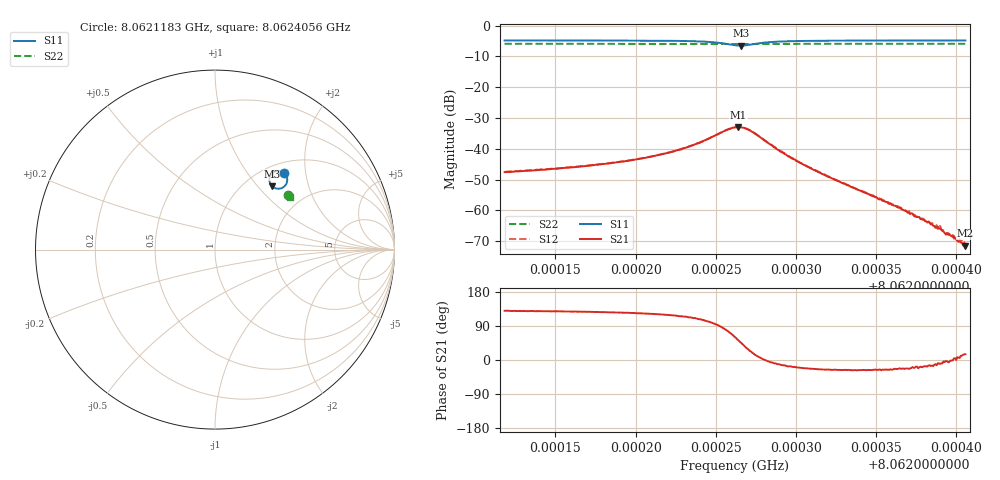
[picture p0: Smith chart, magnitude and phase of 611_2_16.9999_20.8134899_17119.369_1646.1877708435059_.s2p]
#  HZ  S  RI  R  50.00
! Rohde & Schwarz Vector Network Analyzer
! Rohde-Schwarz,ZNB20-2Port,1311601062101988,3.16
! Created: UTC 3/20/2024, 11:19:26 PM
! freq[Hz]  re:S11  im:S11  re:S21  im:S21  re:S12  im:S12  re:S22  im:S22
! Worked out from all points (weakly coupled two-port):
!   401 points, 8.0621183 GHz to 8.0624056 GHz, reference 50 ohm
!   highest |S21| = -32.93 dB at 8.0622641 GHz (marker M1); lowest = -71.5 dB at 8.0624056 GHz (marker M2)
!   lowest |S11| = -6.5 dB at 8.0622655 GHz (marker M3), VSWR 2.81, Z = 65.8 + j59.9 ohm
!   |S11| at or under -10 dB: nowhere
!   |S22| runs from -6.0 to -5.9 dB; largest |S21 - S12| = 0.0014
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8.06211828e9  0.3852 0.4279  -0.00267 0.00321  -0.00251 0.00337  0.4068 0.3048
8.06216641e9  0.3909 0.4219  -0.00313 0.00411  -0.00294 0.00433  0.4087 0.3022
8.0621937e9  0.395 0.416  -0.00361 0.0052  -0.00328 0.00549  0.4096 0.3007
8.06221453e9  0.399 0.4079  -0.00402 0.00681  -0.00366 0.00713  0.4104 0.2991
8.06223536e9  0.4028 0.39  -0.00414 0.0106  -0.00357 0.0109  0.4111 0.2973
8.06225117e9  0.3914 0.3574  -0.000679 0.0171  0.000447 0.0172  0.4105 0.2953
8.06225691e9  0.371 0.3425  0.00426 0.0198  0.00551 0.0196  0.4098 0.2948
8.06226194e9  0.3408 0.3406  0.011 0.0193  0.0121 0.0189  0.4085 0.2948
8.06226409e9  0.3268 0.3463  0.0139 0.0178  0.0148 0.0169  0.4081 0.2951
8.06226553e9  0.3186 0.3526  0.0155 0.0162  0.0165 0.0154  0.4079 0.2956
8.06227128e9  0.303 0.3874  0.0182 0.00799  0.0188 0.00715  0.4078 0.2969
8.06228205e9  0.3229 0.4287  0.0126 -0.000656  0.0128 -0.00134  0.4095 0.298
8.06229498e9  0.347 0.4385  0.00721 -0.00221  0.00717 -0.00272  0.4114 0.2974
8.06231006e9  0.3617 0.438  0.00429 -0.00183  0.00421 -0.00213  0.4124 0.2966
8.0623273e9  0.3706 0.4356  0.00262 -0.00128  0.00256 -0.00146  0.4133 0.2956
8.06235819e9  0.3791 0.4316  0.00114 -0.000555  0.00115 -0.000641  0.4147 0.2937
8.06238333e9  0.3834 0.429  0.000603 -0.000149  0.000602 -0.000194  0.4155 0.2924
8.06239123e9  0.3844 0.4282  0.000458 -7.08e-05  0.000459 -8.95e-05  0.4159 0.2919
8.06239482e9  0.3849 0.4279  0.000422 -4.35e-05  0.000399 -5.77e-05  0.416 0.2918
8.06239698e9  0.385 0.4277  0.000382 -1.15e-05  0.000369 -3.88e-05  0.4159 0.2915
8.06240272e9  0.3857 0.4273  0.000293 5.79e-05  0.000321 2.55e-05  0.4164 0.2912
8.0624056e9  0.3862 0.427  0.000256 7e-05  0.000288 7.04e-05  0.4163 0.2911
